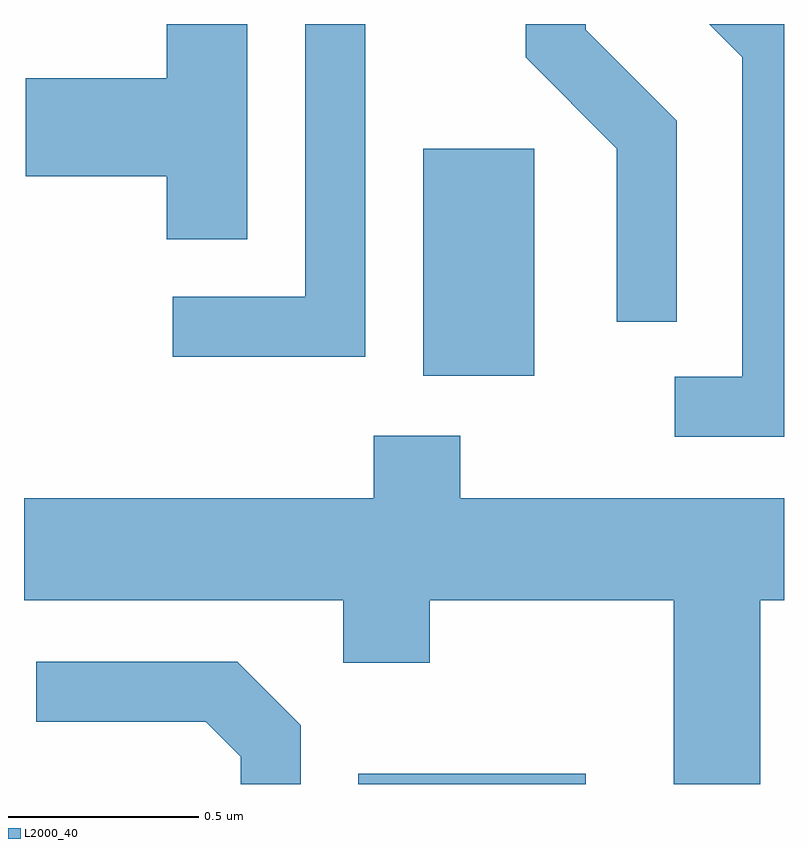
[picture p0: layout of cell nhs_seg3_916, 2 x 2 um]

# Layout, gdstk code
import gdstk
lib = gdstk.Library(unit=1e-6, precision=1e-09)
def R(c, l, rs):  # rectangles x0, y0, x1, y1
    for r in rs: c.add(gdstk.rectangle(r[:2], r[2:], *l))
def P(c, l, *ps):  # polygons
    for p in ps: c.add(gdstk.Polygon(p, *l))
L2000_40 = (2000, 40)

nhs_seg3_916 = lib.new_cell('nhs_seg3_916')
R(nhs_seg3_916, L2000_40, [(192.491,1209.892,193.089,1209.919), (192.661,1210.966,192.954,1211.564)])
P(nhs_seg3_916, L2000_40, [(193.611,1211.892),(193.293,1211.892),(193.293,1211.891),(193.414,1211.891),(193.501,1211.804),(193.501,1210.964),(193.323,1210.964),(193.323,1210.806),(193.611,1210.806)],
  [(192.509,1211.892),(192.351,1211.892),(192.351,1211.174),(192.003,1211.174),(192.003,1211.016),(192.509,1211.016)],
  [(193.329,1211.637),(193.089,1211.877),(193.089,1211.892),(192.931,1211.892),(192.931,1211.804),(193.171,1211.564),(193.171,1211.108),(193.329,1211.108)],
  [(192.199,1211.892),(191.986,1211.892),(191.986,1211.749),(191.616,1211.749),(191.616,1211.491),(191.986,1211.491),(191.986,1211.326),(192.199,1211.326)],
  [(193.549,1210.376),(193.611,1210.376),(193.611,1210.644),(192.759,1210.644),(192.759,1210.809),(192.531,1210.809),(192.531,1210.644),(191.611,1210.644),(191.611,1210.376),(192.451,1210.376),(192.451,1210.211),(192.679,1210.211),(192.679,1210.376),(193.321,1210.376),(193.321,1209.892),(193.549,1209.892)],
  [(192.339,1210.047),(192.172,1210.214),(191.643,1210.214),(191.643,1210.056),(192.089,1210.056),(192.181,1209.964),(192.181,1209.892),(192.339,1209.892)])

lib.write_gds('nhs_seg3_916.gds')
